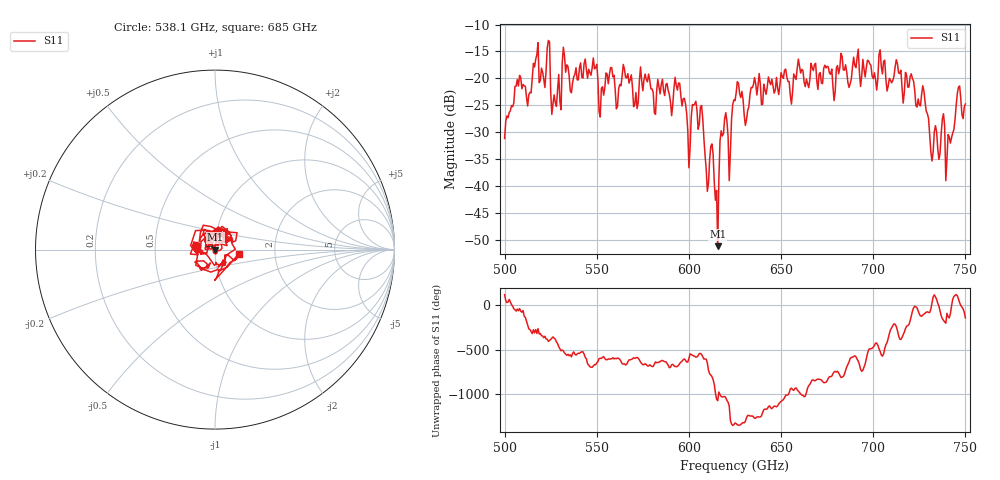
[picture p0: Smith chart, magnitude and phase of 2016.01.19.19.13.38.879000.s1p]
!Created with skrf (http://scikit-rf.org).
# GHz S RI R 50.0
!freq ReS11 ImS11
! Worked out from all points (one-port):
!   401 points, 500 GHz to 750 GHz, reference 50 ohm
!   lowest |S11| = -51.2 dB at 615.6 GHz (marker M1), VSWR 1.01, Z = 50.3 + j0.0437 ohm
!   |S11| at or under -10 dB: start of sweep to end of sweep
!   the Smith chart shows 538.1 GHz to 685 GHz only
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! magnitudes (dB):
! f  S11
! 500 GHz  -31.2
! 507.5 GHz  -21.4
! 513.1 GHz  -23.0
! 516.9 GHz  -16.4
! 523.8 GHz  -12.9
! 526.9 GHz  -23.1
! 531.2 GHz  -17.2
! 562.5 GHz  -21.1
! 593.8 GHz  -22.2
! 600 GHz  -36.6
! 602.5 GHz  -25.0
! 606.9 GHz  -25.0
! 609.4 GHz  -36.9
! 612.5 GHz  -32.2
! 615.6 GHz  -51.2
! 618.1 GHz  -30.7
! 621.9 GHz  -39.0
! 625 GHz  -24.2
! 631.2 GHz  -27.7
! 635 GHz  -21.2
! 656.2 GHz  -22.4
! 687.5 GHz  -21.0
! 718.8 GHz  -21.6
! 727.5 GHz  -22.4
! 731.9 GHz  -35.4
! 740.6 GHz  -30.5
! 746.2 GHz  -21.6
! 750 GHz  -24.8
